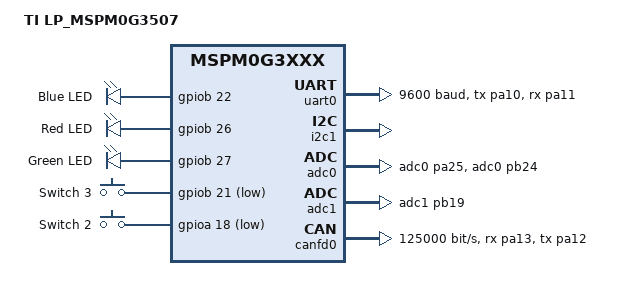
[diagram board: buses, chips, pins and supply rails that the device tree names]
/* SPDX-License-Identifier: Apache-2.0 */

/dts-v1/;

#include <ti/mspm0g3507.dtsi>
#include <ti/mspm0/mspm0g3507-pinctrl.dtsi>
#include <zephyr/dt-bindings/input/input-event-codes.h>

/ {
	model = "TI LP_MSPM0G3507";
	compatible = "ti,lp_mspm0g3507","ti,mspm0g3507",
				  "ti,mspm0g3xxx";

	aliases {
		led0 = &led0;
		led1 = &led1;
		sw0 = &btn0;
		sw1 = &btn1;
	};

	chosen {
		zephyr,sram = &sram0;
		zephyr,flash = &flash0;
		zephyr,console = &uart0;
		zephyr,shell-uart = &uart0;
		zephyr,canbus = &canfd0;
	};

	leds {
		compatible = "gpio-leds";
		led0: led_0 {
			gpios = <&gpiob 22 GPIO_ACTIVE_HIGH>;
			label = "Blue LED";
		};
		led1: led_1 {
			gpios = <&gpiob 26 GPIO_ACTIVE_HIGH>;
			label = "Red LED";
		};
		led2: led_2 {
			gpios = <&gpiob 27 GPIO_ACTIVE_HIGH>;
			label = "Green LED";
		};
	};

	keys {
		compatible = "gpio-keys";
		btn0: btn_0 {
			gpios = <&gpiob 21 (GPIO_ACTIVE_LOW | GPIO_PULL_UP)>;
			label = "Switch 3";
			zephyr,code = <INPUT_KEY_0>;
		};
		btn1: btn_1 {
			gpios = <&gpioa 18 (GPIO_ACTIVE_LOW | GPIO_PULL_UP)>;
			label = "Switch 2";
			zephyr,code = <INPUT_KEY_1>;
		};
	};
};

&cpu0 {
	clock-frequency = <32000000>;
};

&gpioa {
	status = "okay";
};

&gpiob {
	status = "okay";
};

&uart0 {
	status = "okay";
	current-speed = <9600>;
	pinctrl-0 = <&uart0_tx_pa10 &uart0_rx_pa11>;
	pinctrl-names = "default";
};

&i2c1 {
	pinctrl-0 = <&i2c1_scl_pb2_pull_up &i2c1_sda_pb3_pull_up>;
	pinctrl-names = "default";
	status = "okay";
};

&adc0 {
	ti,clk-source = <MSP_ADC_CLOCK_ULPCLK>;
	ti,clk-divider = <8>;
	ti,clk-range = <MSP_ADC_CLOCK_RANGE_24TO32>;
	vref-mv = <2500>;
	pinctrl-0 = <&adc0_pa25 &adc0_pb24>;
	pinctrl-names = "default";
	status = "okay";
};

&adc1 {
	ti,clk-source = <MSP_ADC_CLOCK_ULPCLK>;
	ti,clk-divider = <8>;
	ti,clk-range = <MSP_ADC_CLOCK_RANGE_24TO32>;
	vref-mv = <2500>;
	pinctrl-0 = <&adc1_pb19>;
	pinctrl-names = "default";
	status = "okay";
};

&canfd0 {
	pinctrl-0 = <&can0_rx_pa13 &can0_tx_pa12>;
	pinctrl-names = "default";
	bus-speed = <125000>;
	bus-speed-data = <1000000>;
	status = "okay";
};
